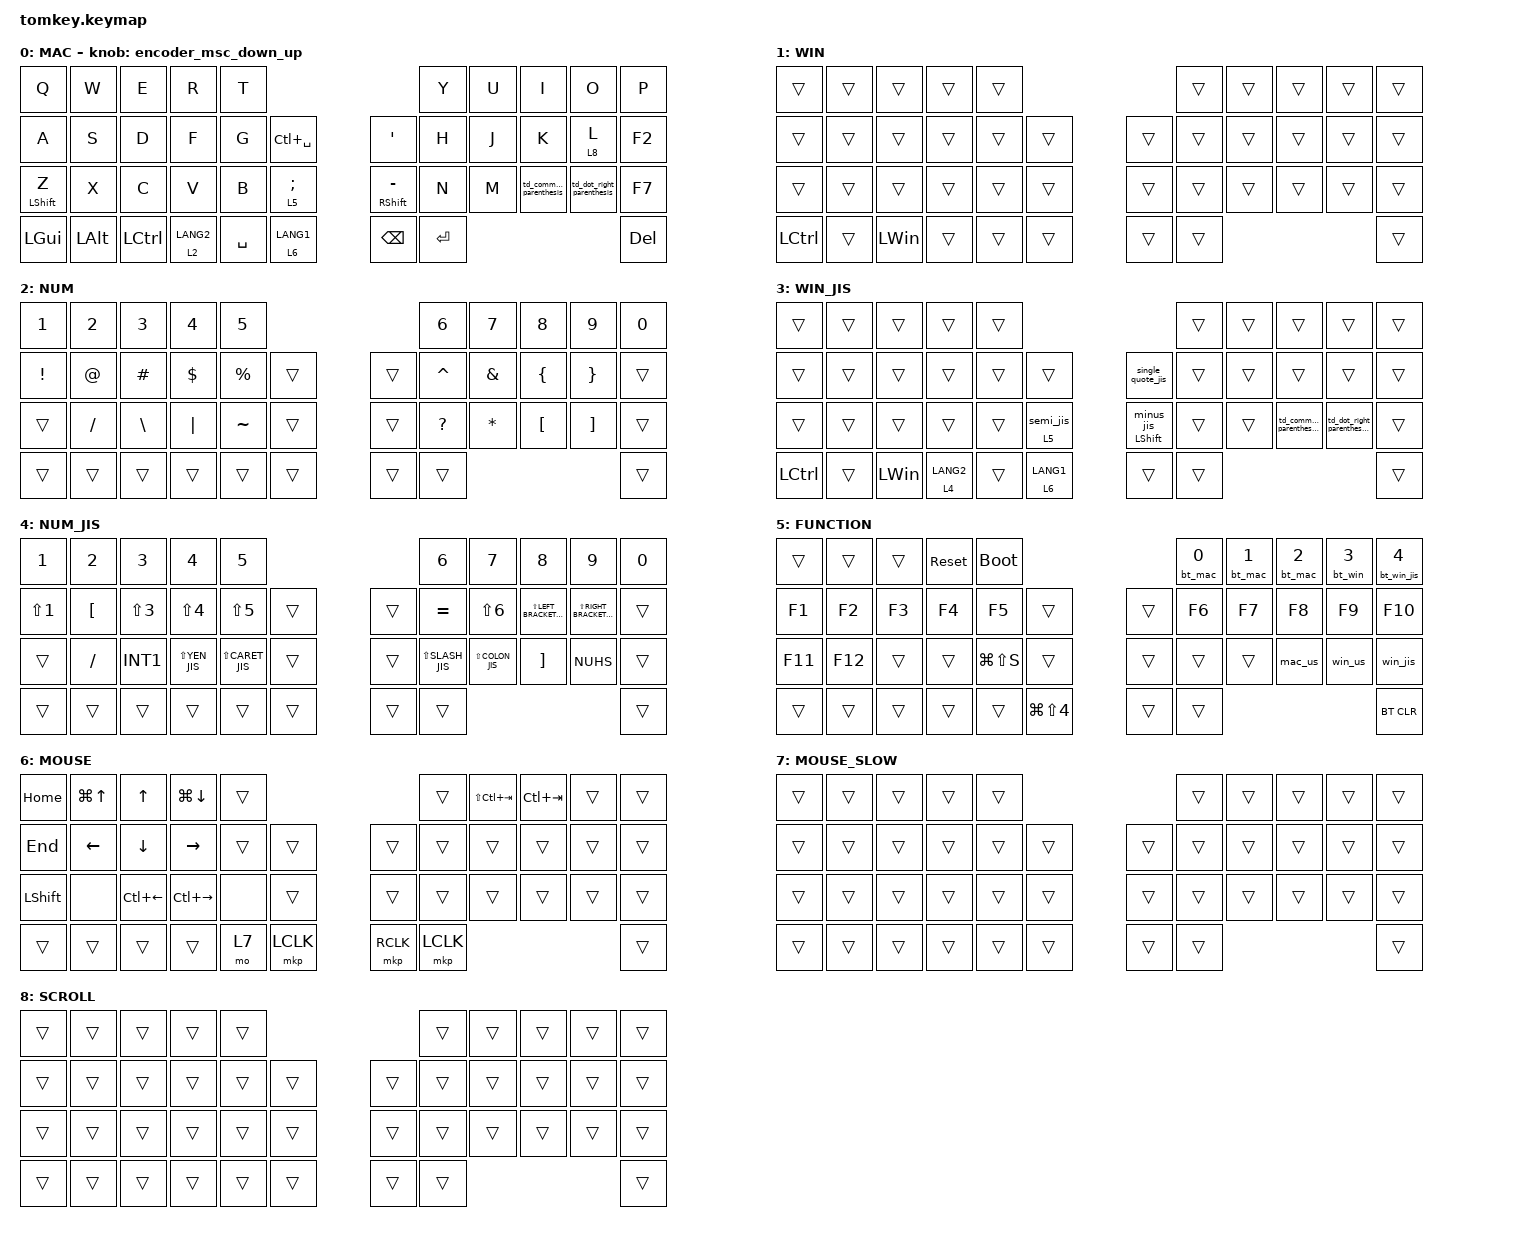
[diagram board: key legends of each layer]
#include <behaviors.dtsi>
#include <dt-bindings/zmk/bt.h>
#include <dt-bindings/zmk/keys.h>
#include <dt-bindings/zmk/pointing.h>

#define ZMK_POINTING_DEFAULT_SCRL_VAL 80
#define ZKHK_JIS                  GRAVE                  // Zenkaku ↔ Hankaku ↔ Kanji (半角 ↔ 全角 ↔ 漢字)
#define MINUS_JIS                 MINUS                  // -
#define CARET_JIS                 EQUAL                  // ^
#define YEN_JIS                   INT3                   // ¥
#define AT_SIGN_JIS               LBKT                   // @
#define LEFT_BRACKET_JIS          RBKT                   // [
#define EISU_JIS                  CAPS                   // Eisū (英数)
#define SEMI_JIS                  SEMI                   // ;
#define COLON_JIS                 SQT                    // :
#define RIGHT_BRACKET_JIS         NUHS                   // ]
#define COMMA_JIS                 COMMA                  // ,
#define DOT_JIS                   DOT                    // .
#define SLASH_JIS                 SLASH                  // /
#define BACKSLASH_JIS             INT1                   // (backslash)
#define MHEN_JIS                  INT5                   // Muhenkan (無変換)
#define HENK_JIS                  INT4                   // Henkan (変換)
#define KANA_JIS                  INT2                   // Katakana ↔ Hiragana ↔ Rōmaji (カタカナ ↔ ひらがな ↔ ローマ字)
#define EXCLAMATION_JIS           LS(N1)                 // !
#define DOUBLE_QUOTE_JIS          LS(N2)                 // "
#define HASH_JIS                  LS(N3)                 // #
#define DOLLAR_JIS                LS(N4)                 // $
#define PERCENT_JIS               LS(N5)                 // %
#define AMPERSAND_JIS             LS(N6)                 // &
#define SINGLE_QUOTE_JIS          LS(N7)                 // '
#define LEFT_PARENTHESIS_JIS      LS(N8)                 // (
#define RIGHT_PARENTHESIS_JIS     LS(N9)                 // )
#define EQUAL_JIS                 LS(MINUS_JIS)          // =
#define TILDE_JIS                 LS(CARET_JIS)          // ~
#define PIPE_JIS                  LS(YEN_JIS)            // |
#define GRAVE_JIS                 LS(AT_SIGN_JIS)        // `
#define LEFT_BRACE_JIS            LS(LEFT_BRACKET_JIS)   // {
#define CAPS_JIS                  LS(EISU_JIS)           // Caps Lock
#define PLUS_JIS                  LS(SEMI_JIS)           // +
#define ASTERISK_JIS              LS(COLON_JIS)          // *
#define RIGHT_BRACE_JIS           LS(RIGHT_BRACKET_JIS)  // }
#define LT_JIS                    LS(COMMA_JIS)          // <
#define RT_JIS                    LS(DOT_JIS)            // >
#define QUESTION_JIS              LS(SLASH_JIS)          // ?
#define UNDER_JIS                 LS(BACKSLASH_JIS)      // _

&mt {
    flavor = "balanced";
    quick-tap-ms = <0>;
    tapping-term-ms = <500>;
};

&zip_temp_layer { require-prior-idle-ms = <200>; };

&mkp_input_listener { input-processors = <&zip_temp_layer 6 500>; };

/ {
    combos {
        compatible = "zmk,combos";

        escape {
            bindings = <&kp ESC>;
            key-positions = <0 1>;
        };

        tab {
            bindings = <&kp TAB>;
            key-positions = <11 12>;
        };

        shift_tab {
            bindings = <&kp LS(TAB)>;
            key-positions = <10 11>;
        };

        comment {
            bindings = <&kp LG(SLASH)>;
            key-positions = <12 13>;
            layers = <0 1 2>;
        };

        back_quote {
            bindings = <&kp GRAVE>;
            key-positions = <16 17>;
            layers = <0 1 2>;
        };

        equal {
            bindings = <&kp EQUAL>;
            key-positions = <17 18>;
            layers = <0 1 2>;
        };

        comment_jis {
            bindings = <&kp LC(SLASH_JIS)>;
            key-positions = <12 13>;
            layers = <3 4>;
        };

        back_quote_jis {
            bindings = <&kp GRAVE_JIS>;
            key-positions = <16 17>;
            layers = <3 4>;
        };

        equal_jis {
            bindings = <&equal_jis>;
            key-positions = <17 18>;
            layers = <3 4>;
        };

        back {
            bindings = <&kp LG(LEFT_ARROW)>;
            key-positions = <22 23>;
            layers = <0>;
        };

        next {
            bindings = <&kp LG(RIGHT_ARROW)>;
            key-positions = <23 24>;
            layers = <0>;
        };

        back_win {
            bindings = <&kp LA(LEFT_ARROW)>;
            key-positions = <22 23>;
            layers = <1 3>;
        };

        next_win {
            bindings = <&kp LA(RIGHT_ARROW)>;
            key-positions = <23 24>;
            layers = <1 3>;
        };
    };

    macros {
        to_layer_0: to_layer_0 {
            compatible = "zmk,behavior-macro-one-param";
            #binding-cells = <1>;
            bindings = <&to 0 &macro_param_1to1 &kp MACRO_PLACEHOLDER>;
            label = "TO_LAYER_0";
        };

        bt_mac: bt_mac {
            compatible = "zmk,behavior-macro-one-param";
            #binding-cells = <1>;
            bindings = <&mac_us &macro_param_1to2 &bt BT_SEL MACRO_PLACEHOLDER>;
            label = "BT_MAC";
        };

        bt_win: bt_win {
            compatible = "zmk,behavior-macro-one-param";
            #binding-cells = <1>;
            bindings = <&win_us &macro_param_1to2 &bt BT_SEL MACRO_PLACEHOLDER>;
            label = "BT_WIN";
        };

        bt_win_jis: bt_win_jis {
            compatible = "zmk,behavior-macro-one-param";
            #binding-cells = <1>;
            bindings = <&win_jis &macro_param_1to2 &bt BT_SEL MACRO_PLACEHOLDER>;
            label = "BT_WIN_JIS";
        };

        mac_us: mac_us {
            compatible = "zmk,behavior-macro";
            #binding-cells = <0>;
            bindings = <&tog_off 1 &tog_off 3>;
            label = "MAC_US";
        };

        win_us: win_us {
            compatible = "zmk,behavior-macro";
            #binding-cells = <0>;
            bindings = <&tog_on 1 &tog_off 3>;
            label = "WIN_US";
        };

        win_jis: win_jis {
            compatible = "zmk,behavior-macro";
            #binding-cells = <0>;
            bindings = <&tog_off 1 &tog_on 3>;
            label = "WIN_JIS";
        };
    };

    behaviors {
        lt_to_layer_0: lt_to_layer_0 {
            compatible = "zmk,behavior-hold-tap";
            label = "LAYER_TAP_TO_0";
            bindings = <&mo>, <&to_layer_0>;

            #binding-cells = <2>;
            tapping-term-ms = <500>;
        };

        encoder_msc_down_up: encoder_msc_down_up {
            compatible = "zmk,behavior-sensor-rotate";
            label = "ENCODER_MSC_DOWN_UP";
            #sensor-binding-cells = <0>;
            bindings = <&msc SCRL_DOWN>, <&msc SCRL_UP>;

            tap-ms = <20>;
        };

        td_comma_left_parenthesis: td_comma_left_parenthesis {
            compatible = "zmk,behavior-tap-dance";
            label = "TD_COMMA_LEFT_PARENTHESIS";
            #binding-cells = <0>;
            bindings = <&kp COMMA>, <&kp LEFT_PARENTHESIS>;
        };

        td_dot_right_parenthesis: td_dot_right_parenthesis {
            compatible = "zmk,behavior-tap-dance";
            label = "TD_DOT_RIGHT_PARENTHESIS";
            #binding-cells = <0>;
            bindings = <&kp DOT>, <&kp RIGHT_PARENTHESIS>;
        };

        single_quote_jis: single_quote_jis {
            compatible = "zmk,behavior-mod-morph";
            label = "SINGLE_QUOTE_JIS";
            #binding-cells = <0>;
            bindings = <&kp SINGLE_QUOTE_JIS>, <&kp DOUBLE_QUOTE_JIS>;

            mods = <(MOD_LSFT|MOD_RSFT)>;
        };

        equal_jis: equal_jis {
            compatible = "zmk,behavior-mod-morph";
            label = "EQUAL_JIS";
            #binding-cells = <0>;
            bindings = <&kp EQUAL_JIS>, <&kp PLUS_JIS>;

            mods = <(MOD_LSFT|MOD_RSFT)>;
        };

        minus_jis: minus_jis {
            compatible = "zmk,behavior-mod-morph";
            label = "MINUS_JIS";
            #binding-cells = <0>;
            bindings = <&kp MINUS_JIS>, <&kp UNDER_JIS>;

            mods = <(MOD_LSFT|MOD_RSFT)>;
        };

        semi_jis: semi_jis {
            compatible = "zmk,behavior-mod-morph";
            label = "SEMI_JIS";
            #binding-cells = <0>;
            bindings = <&kp SEMI_JIS>, <&kp COLON_JIS>;

            mods = <(MOD_LSFT|MOD_RSFT)>;
        };

        mt_minus_jis: mt_minus_jis {
            compatible = "zmk,behavior-hold-tap";
            label = "MT_MINUS_JIS";
            bindings = <&kp>, <&minus_jis>;

            #binding-cells = <2>;
            tapping-term-ms = <500>;
        };

        lt_semi_jis: lt_semi_jis {
            compatible = "zmk,behavior-hold-tap";
            label = "LT_SEMI_JIS";
            bindings = <&mo>, <&semi_jis>;

            #binding-cells = <2>;
            tapping-term-ms = <500>;
        };

        td_comma_left_parenthesis_jis: td_comma_left_parenthesis_jis {
            compatible = "zmk,behavior-tap-dance";
            label = "TD_COMMA_LEFT_PARENTHESIS_JIS";
            #binding-cells = <0>;
            bindings = <&kp COMMA_JIS>, <&kp LEFT_PARENTHESIS_JIS>;
        };

        td_dot_right_parenthesis_jis: td_dot_right_parenthesis_jis {
            compatible = "zmk,behavior-tap-dance";
            label = "TD_DOT_RIGHT_PARENTHESIS_JIS";
            #binding-cells = <0>;
            bindings = <&kp DOT_JIS>, <&kp RIGHT_PARENTHESIS_JIS>;
        };

        tog_on: tog_on {
            compatible = "zmk,behavior-toggle-layer";
            label = "TOG_ON";
            #binding-cells = <1>;
            toggle-mode = "on";
        };

        tog_off: tog_off {
            compatible = "zmk,behavior-toggle-layer";
            label = "TOG_OFF";
            #binding-cells = <1>;
            toggle-mode = "off";
        };
    };

    keymap {
        compatible = "zmk,keymap";

        MAC {
            bindings = <
&kp Q             &kp W         &kp E             &kp R        &kp T                                                &kp Y      &kp U  &kp I                       &kp O                      &kp P
&kp A             &kp S         &kp D             &kp F        &kp G      &kp LC(SPACE)      &kp SINGLE_QUOTE       &kp H      &kp J  &kp K                       &lt 8 L                    &kp F2
&mt LEFT_SHIFT Z  &kp X         &kp C             &kp V        &kp B      &lt 5 SEMI         &mt RIGHT_SHIFT MINUS  &kp N      &kp M  &td_comma_left_parenthesis  &td_dot_right_parenthesis  &kp F7
&kp LEFT_GUI      &kp LEFT_ALT  &kp LEFT_CONTROL  &lt 2 LANG2  &kp SPACE  &lt 6 LANG1        &kp BACKSPACE          &kp ENTER                                                                &kp DELETE
            >;

            sensor-bindings = <&encoder_msc_down_up>;
        };

        WIN {
            bindings = <
&trans            &trans  &trans        &trans  &trans                      &trans  &trans  &trans  &trans  &trans
&trans            &trans  &trans        &trans  &trans  &trans      &trans  &trans  &trans  &trans  &trans  &trans
&trans            &trans  &trans        &trans  &trans  &trans      &trans  &trans  &trans  &trans  &trans  &trans
&kp LEFT_CONTROL  &trans  &kp LEFT_WIN  &trans  &trans  &trans      &trans  &trans                          &trans
            >;
        };

        NUM {
            bindings = <
&kp NUMBER_1     &kp NUMBER_2  &kp NUMBER_3   &kp NUMBER_4  &kp N5                           &kp NUMBER_6  &kp N7         &kp N8            &kp N9             &kp N0
&kp EXCLAMATION  &kp AT_SIGN   &kp HASH       &kp DOLLAR    &kp PERCENT  &trans      &trans  &kp CARET     &kp AMPERSAND  &kp LEFT_BRACE    &kp RIGHT_BRACE    &trans
&trans           &kp SLASH     &kp BACKSLASH  &kp PIPE      &kp TILDE    &trans      &trans  &kp QUESTION  &kp ASTERISK   &kp LEFT_BRACKET  &kp RIGHT_BRACKET  &trans
&trans           &trans        &trans         &trans        &trans       &trans      &trans  &trans                                                            &trans
            >;
        };

        WIN_JIS {
            bindings = <
&trans            &trans  &trans        &trans       &trans                                                    &trans  &trans  &trans                          &trans                         &trans
&trans            &trans  &trans        &trans       &trans  &trans                &single_quote_jis           &trans  &trans  &trans                          &trans                         &trans
&trans            &trans  &trans        &trans       &trans  &lt_semi_jis 5 0      &mt_minus_jis LEFT_SHIFT 0  &trans  &trans  &td_comma_left_parenthesis_jis  &td_dot_right_parenthesis_jis  &trans
&kp LEFT_CONTROL  &trans  &kp LEFT_WIN  &lt 4 LANG2  &trans  &lt 6 LANG1           &trans                      &trans                                                                         &trans
            >;
        };

        NUM_JIS {
            bindings = <
&kp NUMBER_1         &kp NUMBER_2     &kp NUMBER_3       &kp NUMBER_4    &kp N5                               &kp NUMBER_6      &kp N7             &kp N8                &kp N9                 &kp N0
&kp EXCLAMATION_JIS  &kp AT_SIGN_JIS  &kp HASH_JIS       &kp DOLLAR_JIS  &kp PERCENT_JIS  &trans      &trans  &kp CARET_JIS     &kp AMPERSAND_JIS  &kp LEFT_BRACE_JIS    &kp RIGHT_BRACE_JIS    &trans
&trans               &kp SLASH_JIS    &kp BACKSLASH_JIS  &kp PIPE_JIS    &kp TILDE_JIS    &trans      &trans  &kp QUESTION_JIS  &kp ASTERISK_JIS   &kp LEFT_BRACKET_JIS  &kp RIGHT_BRACKET_JIS  &trans
&trans               &trans           &trans             &trans          &trans           &trans      &trans  &trans                                                                            &trans
            >;
        };

        FUNCTION {
            bindings = <
&trans   &trans   &trans  &sys_reset  &bootloader                                      &bt_mac 0  &bt_mac 1  &bt_mac 2  &bt_win 3  &bt_win_jis 4
&kp F1   &kp F2   &kp F3  &kp F4      &kp F5         &trans                    &trans  &kp F6     &kp F7     &kp F8     &kp F9     &kp F10
&kp F11  &kp F12  &trans  &trans      &kp LG(LS(S))  &trans                    &trans  &trans     &trans     &mac_us    &win_us    &win_jis
&trans   &trans   &trans  &trans      &trans         &kp LG(LS(NUMBER_4))      &trans  &trans                                      &bt BT_CLR
            >;
        };

        MOUSE {
            bindings = <
&kp HOME        &kp LG(UP_ARROW)  &kp UP_ARROW        &kp LG(DOWN)         &trans                            &trans     &kp LS(LC(TAB))  &kp LC(TAB)  &trans  &trans
&kp END         &kp LEFT_ARROW    &kp DOWN_ARROW      &kp RIGHT_ARROW      &trans  &trans         &trans     &trans     &trans           &trans       &trans  &trans
&kp LEFT_SHIFT  &none             &kp LC(LEFT_ARROW)  &kp LC(RIGHT_ARROW)  &none   &trans         &trans     &trans     &trans           &trans       &trans  &trans
&trans          &trans            &trans              &trans               &mo 7   &mkp LCLK      &mkp RCLK  &mkp LCLK                                        &trans
            >;
        };

        MOUSE_SLOW {
            bindings = <
&trans  &trans  &trans  &trans  &trans                      &trans  &trans  &trans  &trans  &trans
&trans  &trans  &trans  &trans  &trans  &trans      &trans  &trans  &trans  &trans  &trans  &trans
&trans  &trans  &trans  &trans  &trans  &trans      &trans  &trans  &trans  &trans  &trans  &trans
&trans  &trans  &trans  &trans  &trans  &trans      &trans  &trans                          &trans
            >;
        };

        SCROLL {
            bindings = <
&trans  &trans  &trans  &trans  &trans                      &trans  &trans  &trans  &trans  &trans
&trans  &trans  &trans  &trans  &trans  &trans      &trans  &trans  &trans  &trans  &trans  &trans
&trans  &trans  &trans  &trans  &trans  &trans      &trans  &trans  &trans  &trans  &trans  &trans
&trans  &trans  &trans  &trans  &trans  &trans      &trans  &trans                          &trans
            >;
        };
    };
};
